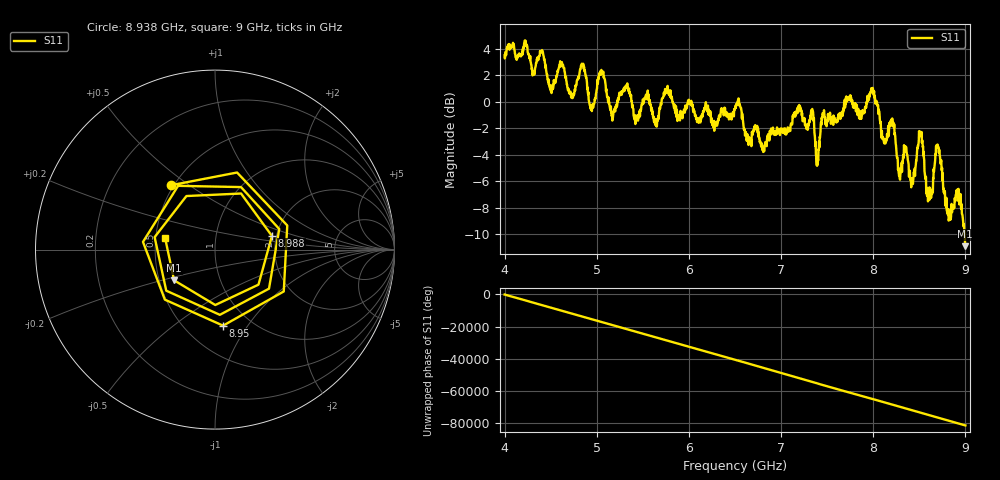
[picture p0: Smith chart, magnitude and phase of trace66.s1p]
! Created with skrf 1.8.0 (http://scikit-rf.org).
# Hz S RI R 50.0
!freq ReS11 ImS11
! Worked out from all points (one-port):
!   1601 points, 4 GHz to 9 GHz, reference 50 ohm
!   lowest |S11| = -10.9 dB at 8.997 GHz (marker M1), VSWR 1.80, Z = 29.9 - j11.1 ohm
!   |S11| at or under -10 dB: 8.989966 GHz to end of sweep
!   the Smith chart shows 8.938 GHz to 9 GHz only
!   S11 on the Smith chart (normalised r, x): 8.938 GHz: 0.48, +0.43; 8.95 GHz: 0.75, -0.78; 8.988 GHz: 1.89, +0.32; 9 GHz: 0.56, +0.08
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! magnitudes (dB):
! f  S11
! 4 GHz  3.5
! 4.625 GHz  2.8
! 4.731 GHz  0.4
! 4.85 GHz  2.8
! 4.944 GHz  -0.5
! 5.047 GHz  2.1
! 5.162 GHz  -1.1
! 5.25 GHz  0.5
! 5.875 GHz  -1.4
! 6.5 GHz  -0.5
! 6.8 GHz  -3.5
! 7.125 GHz  -1.1
! 7.334 GHz  -0.6
! 7.394 GHz  -4.8
! 7.453 GHz  -0.9
! 7.75 GHz  0.3
! 7.991 GHz  1.0
! 8.375 GHz  -4.4
! 8.428 GHz  -6.2
! 8.516 GHz  -2.3
! 8.619 GHz  -7.2
! 8.7 GHz  -3.4
! 8.822 GHz  -8.8
! 8.938 GHz  -7.2
! 8.95 GHz  -7.4
! 8.988 GHz  -9.7
! 8.997 GHz  -10.9
! 9 GHz  -10.9
